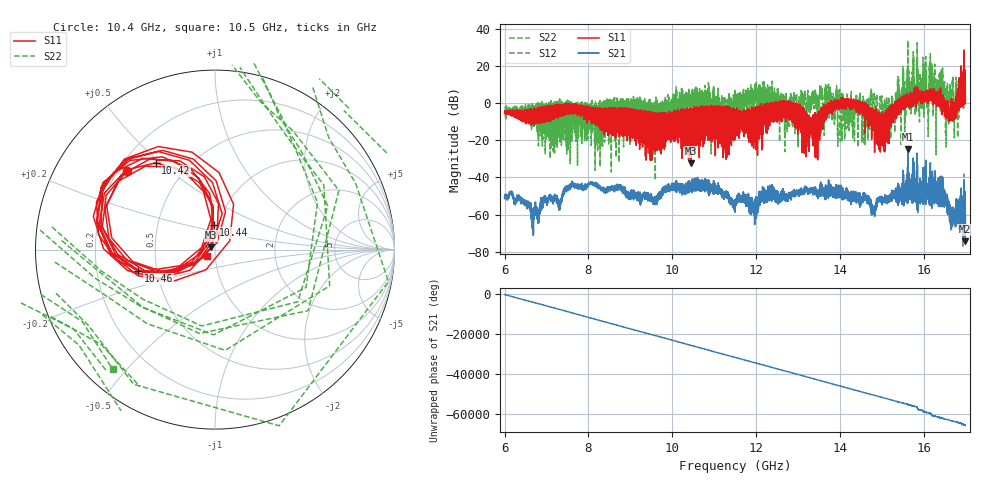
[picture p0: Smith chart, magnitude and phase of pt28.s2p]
#  HZ  S  RI  R  50.00
! Rohde & Schwarz Vector Network Analyzer
! Rohde-Schwarz,ZNA67-2Port,1332450062101215,3.01
! Created: UTC 10/27/2026, 1:45:39 PM
! freq[Hz]  re:S11  im:S11  re:S21  im:S21  re:S12  im:S12  re:S22  im:S22
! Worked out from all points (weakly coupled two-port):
!   11000 points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, 6 GHz to 17 GHz, reference 50 ohm
!   highest |S21| = -24.91 dB at 15.63 GHz (marker M1); lowest = -74.3 dB at 17 GHz (marker M2)
!   lowest |S11| = -32.5 dB at 10.45 GHz (marker M3), VSWR 1.05, Z = 48 + j1.18 ohm
!   |S11| at or under -10 dB: 13.27677 GHz to 13.28321 GHz (6.441 MHz wide, 0.0485 % of centre); 13.28778 GHz to 13.29423 GHz (6.452 MHz wide, 0.0485 % of centre); 13.29533 GHz to 13.30351 GHz (8.176 MHz wide, 0.0615 % of centre) (the widest 3 of 519)
!   |S22| runs from -41.5 to 33.8 dB; largest |S21 - S12| = 0.0043
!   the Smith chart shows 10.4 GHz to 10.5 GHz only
!   S11 on the Smith chart (normalised r, x): 10.4 GHz: 0.24, +0.37; 10.42 GHz: 0.33, +0.48; 10.44 GHz: 0.95, +0.27; 10.46 GHz: 0.39, -0.12; 10.5 GHz: 0.91, -0.06
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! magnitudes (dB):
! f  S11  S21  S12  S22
! 6 GHz  -5.2  -50.6  -50.6  -4.6
! 6.685 GHz  -9.9  -65.3  -64.6  -1.3
! 7.834 GHz  -5.6  -45.9  -45.9  -12.2
! 9.667 GHz  -6.9  -49.9  -50.0  -6.6
! 10.4 GHz  -3.6  -45.8  -45.8  4.7
! 10.42 GHz  -4.6  -46.6  -46.6  -1.0
! 10.44 GHz  -17.2  -44.0  -44.0  -5.3
! 10.45 GHz  -32.5  -44.5  -44.6  -5.0
! 10.46 GHz  -7.1  -46.3  -46.2  -3.3
! 10.5 GHz  -24.8  -45.7  -45.7  -1.1
! 11.5 GHz  -3.6  -56.2  -55.7  2.8
! 12.17 GHz  -4.5  -51.5  -51.5  0.4
! 12.78 GHz  -8.5  -50.2  -50.4  1.8
! 13.33 GHz  -13.1  -46.8  -46.8  2.6
! 14.07 GHz  -3.2  -48.5  -48.4  2.8
! 14.81 GHz  -9.1  -56.9  -57.5  -1.0
! 15.17 GHz  -9.8  -50.9  -50.5  -0.3
! 15.63 GHz  1.9  -24.9  -24.5  33.8
! 16.43 GHz  -6.0  -48.4  -48.2  9.9
! 16.65 GHz  -1.6  -62.0  -59.9  -6.1
! 17 GHz  -0.2  -74.3  -71.8  7.5
! 17 GHz  6.5  -59.9  -61.1  8.4
